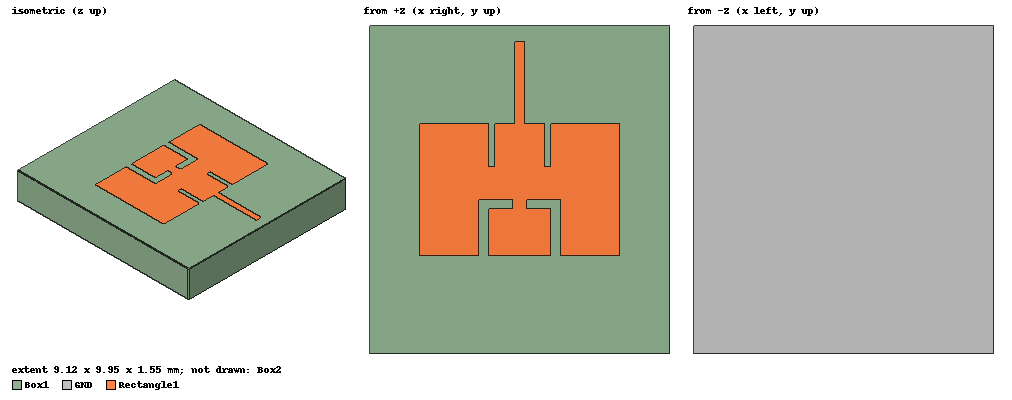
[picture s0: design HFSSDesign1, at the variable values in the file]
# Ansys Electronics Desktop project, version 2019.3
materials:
  vacuum: permittivity=1
  FR4_epoxy: permittivity=4.4 dielectric_loss_tangent=0.02

design HFSSDesign1 (HFSS, DrivenModal, model units mm)
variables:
  Ws = 1.5*Wp
  Ls = 2.5*Lp
  sub_height = 1.55mm
  Wp = 6.08mm
  Lp = 3.98mm
  Wf = 0.294mm  # optimise 0.25mm..0.3mm
  Lf = 2.5mm  # optimise 2.4mm..3.2mm
  Wgnd = Ws
  Lgnd = Ls
  W1 = 0.94mm
  L1 = 1.4mm
  slit = 0.45mm
  g1 = 0.3mm
  Dh = 0.3mm
  Sh = 6e-05mm
  g2 = 0.3mm
  g3 = 0.2mm
  L_cut = 1.28mm  # optimise 1.1mm..1.5mm
  cut_x_pos = 0.5mm  # optimise 0.2mm..0.8mm
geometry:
  Box1 [FR4_epoxy] = box(corner=(-Ws/2, -Ls/2, -sub_height/2), size=(Ws, Ls, sub_height))
  Box2 [vacuum] = box(corner=(-0.6*Ws, -0.6*Ls, -2.5mm), size=(1.2*Ws, 1.2*Ls, 5mm))
  Rectangle1 = rectangle(corner=(-Wp/2, -Lp/2, sub_height/2), x_size=Wp, y_size=Lp)
  GND = rectangle(corner=(-Wgnd/2, -Lgnd/2, -sub_height/2), x_size=Wgnd, y_size=Lgnd)
  Rectangle6 = rectangle(corner=(-Wf/2, Lp/2+Lf-Sh, -sub_height/2), z_size=sub_height, x_size=Wf)
  Rectangle7 = rectangle(corner=(-W1-g1, -Lp/2, sub_height/2), x_size=g1, y_size=L1+g2)
  Rectangle8 = rectangle(corner=(-W1, -Lp/2+L1, sub_height/2), x_size=W1-slit/2, y_size=g2)
  Rectangle9 = rectangle(corner=(-Wf/2, Lp/2-Sh, sub_height/2), x_size=Wf, y_size=Lf)
  Rectangle10 = rectangle(corner=(-(2*Dh+Wf)/2, (Lp/2-Sh), sub_height/2), x_size=2*Dh + Wf, y_size=Sh)
  Rectangle1.subtract(Rectangle10)
  Rectangle1.unite(Rectangle9)
  Rectangle8.unite(Rectangle7)
  Rectangle8_1 = Rectangle8.duplicate_mirror(point=(0mm, 0mm, 0mm), normal=(1mm, 0mm, 0mm))
  Rectangle8_1.unite(Rectangle8)
  Rectangle1.subtract(Rectangle8_1)
  Rectangle11 = rectangle(corner=(-(Wf/2+Dh+cut_x_pos), (Lp/2-L_cut), sub_height/2), x_size=g3, y_size=L_cut)
  Rectangle11_1 = Rectangle11.duplicate_mirror(point=(0mm, 0mm, 0mm), normal=(1mm, 0mm, 0mm))
  Rectangle11.unite(Rectangle11_1)
  Rectangle1.subtract(Rectangle11)
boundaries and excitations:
  Rad1: Radiation Objects=Box2
  FiniteCond1: Finite Conductivity Objects=Rectangle1 Conductivity=58000000 Permeability=1 IsInternal
  FiniteCond2: Finite Conductivity Objects=GND Conductivity=58000000 Permeability=1 IsInternal
  1: Lumped Port Objects=Rectangle6 Modes{Mode1{IntLine{middle of Rectangle6.edge(z at corner) -> middle of Rectangle6.edge(z opposite corner)} CharImp=Zpi RenormImp=100ohm}} Impedance=100ohm
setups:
  Setup1: HfssDriven AdaptMultipleFreqs MultipleAdaptiveFreqsSetup{15GHz(0.02) 30GHz(0.02)} MaximumPasses=20 MinimumPasses=1 MinimumConvergedPasses=1 PercentRefinement=30 BasisOrder=1 PortAccuracy=2
    sweep Sweep: 10GHz to 35GHz, 200 points; Type=Fast SaveFields
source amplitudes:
  1:1: 1W 0deg
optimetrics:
  ParametricSetup1: Parametric disabled Sim._Setups=[Setup1]
    sweep L_cut: LIN 1.3mm 1.4mm 0.05mm
  OptimizationSetup1: Optimization disabled Optimizer="Quasi Newton" AnalysisStopOptions{StopForNumIteration MaxNumIteration=1000 MinNumIteration=10} CostFuncNormType=L2 Acceptable_Cost=0 Noise=0.0001 UpdateDesignWhenDone
    goal mag(Z(1,1)) <= 110 weight 1 on Setup1 : Sweep at Freq 15.0251256281407GHz
    goal mag(Z(1,1)) >= 90 weight 1 on Setup1 : Sweep at Freq 15.0251256281407GHz
    goal ang_deg_val(Z(1,1)) <= -5 weight 1 on Setup1 : Sweep at Freq 15.0251256281407GHz
    goal ang_deg_val(Z(1,1)) >= -15 weight 1 on Setup1 : Sweep at Freq 15.0251256281407GHz
    goal mag(Z(1,1)) <= 110 weight 1 on Setup1 : Sweep at Freq 29.9748743718593GHz
    goal mag(Z(1,1)) >= 90 weight 1 on Setup1 : Sweep at Freq 29.9748743718593GHz
    goal ang_deg_val(Z(1,1)) <= -5 weight 1 on Setup1 : Sweep at Freq 29.9748743718593GHz
    goal ang_deg_val(Z(1,1)) >= -15 weight 1 on Setup1 : Sweep at Freq 29.9748743718593GHz
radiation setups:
  Infinite Sphere1: Infinite Sphere Theta=0deg..180deg step 2deg Phi=-180deg..180deg step 2deg
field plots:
  Mag_Jsurf1: Jsurf over Rectangle1.face(at (0, 0, 0.775)) on Setup1 : LastAdaptive at Freq=15GHz Phase=0deg
  Mag_Jsurf2, Mag_Jsurf3: Jsurf over Rectangle1.face(at (0, 0, 0.775)) on Setup1 : LastAdaptive at Freq=30GHz Phase=0deg
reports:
  S11 patch: dB(S(1,1)) vs Freq on Setup1 : Sweep
  Zin patch: Z(1,1) on Setup1 : Sweep [Freq=15.0251GHz,29.9749GHz]; markers m1 at 29.974874GHz, m2 at 15.025126GHz
  Gain Plot 1: GainTotal vs Phi, Theta on Setup1 : LastAdaptive, Infinite Sphere1 [Freq=15GHz]
  Gain Plot 2: GainTotal vs Phi, Theta on Setup1 : LastAdaptive, Infinite Sphere1 [Freq=30GHz]
  S Parameter Plot 2: dB(S(1,1)), dB(S(1,1)), dB(S(1,1)), dB(S(1,1)), dB(S(1,1)), dB(S(1,1)), dB(S(1,1)), dB(S(1,1)), dB(S(1,1)), dB(S(1,1)), dB(S(1,1)), dB(S(1,1)), dB(S(1,1)), dB(S(1,1)), dB(S(1,1)), dB(S(1,1)), dB(S(1,1)), dB(S(1,1)), dB(S(1,1)), dB(S(1,1)), dB(S(1,1)), dB(S(1,1)), dB(S(1,1)), dB(S(1,1)), dB(S(1,1)), dB(S(1,1)), dB(S(1,1)), dB(S(1,1)), dB(S(1,1)), dB(S(1,1)), dB(S(1,1)), dB(S(1,1)), dB(S(1,1)), dB(S(1,1)), dB(S(1,1)), dB(S(1,1)), dB(S(1,1)), dB(S(1,1)), dB(S(1,1)), dB(S(1,1))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 vs Freq
  S Parameter Plot 3: dB(S(1,1)) vs Freq on Setup1 : Sweep [Wf=all Lf=all slit=all L_cut=all cut_x_pos=all]
